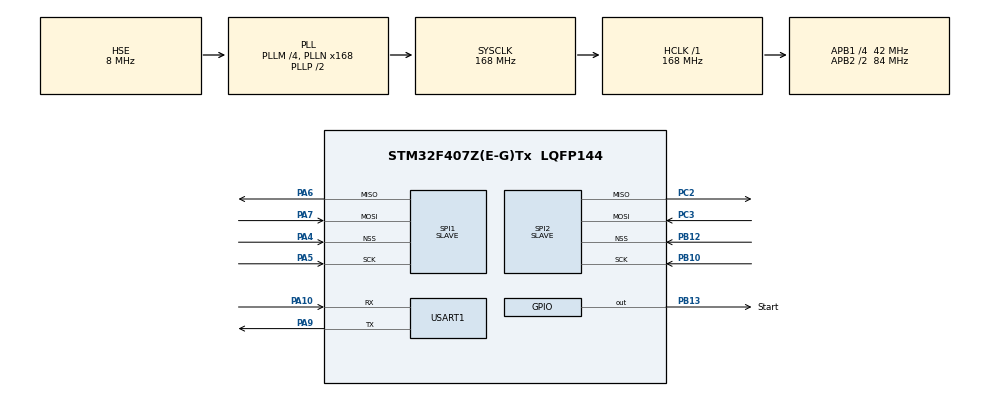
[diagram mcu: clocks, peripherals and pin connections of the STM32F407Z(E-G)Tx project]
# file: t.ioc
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Mcu.Family=STM32F4
Mcu.Name=STM32F407Z(E-G)Tx
Mcu.Package=LQFP144
NVIC.PriorityGroup=NVIC_PRIORITYGROUP_4
PA10.Mode=Asynchronous
PA10.Signal=USART1_RX
PA13.Mode=Serial_Wire
PA13.Signal=SYS_JTMS-SWDIO
PA14.Mode=Serial_Wire
PA14.Signal=SYS_JTCK-SWCLK
PA4.Mode=NSS_Signal_Hard_Input
PA4.Signal=SPI1_NSS
PA5.Mode=Full_Duplex_Slave
PA5.Signal=SPI1_SCK
PA6.Mode=Full_Duplex_Slave
PA6.Signal=SPI1_MISO
PA7.Mode=Full_Duplex_Slave
PA7.Signal=SPI1_MOSI
PA9.Mode=Asynchronous
PA9.Signal=USART1_TX
PB10.Mode=Full_Duplex_Slave
PB10.Signal=SPI2_SCK
PB12.Mode=NSS_Signal_Hard_Input
PB12.Signal=SPI2_NSS
PB13.GPIO_Label=Start
PB13.GPIO_PuPd=GPIO_PULLDOWN
PB13.GPIO_Speed=GPIO_SPEED_FREQ_VERY_HIGH
PB13.PinState=GPIO_PIN_SET
PB13.Signal=GPIO_Output
PC2.Mode=Full_Duplex_Slave
PC2.Signal=SPI2_MISO
PC3.Mode=Full_Duplex_Slave
PC3.Signal=SPI2_MOSI
PH0-OSC_IN.Mode=HSE-External-Oscillator
PH0-OSC_IN.Signal=RCC_OSC_IN
PH1-OSC_OUT.Mode=HSE-External-Oscillator
PH1-OSC_OUT.Signal=RCC_OSC_OUT
ProjectManager.HeapSize=0x200
ProjectManager.StackSize=0x400
ProjectManager.TargetToolchain=MDK-ARM V5.32
RCC.48MHZClocksFreq_Value=84000000
RCC.AHBFreq_Value=168000000
RCC.APB1CLKDivider=RCC_HCLK_DIV4
RCC.APB1Freq_Value=42000000
RCC.APB1TimFreq_Value=84000000
RCC.APB2CLKDivider=RCC_HCLK_DIV2
RCC.APB2Freq_Value=84000000
RCC.APB2TimFreq_Value=168000000
RCC.CortexFreq_Value=168000000
RCC.HCLKFreq_Value=168000000
RCC.HSE_VALUE=8000000
RCC.HSI_VALUE=16000000
RCC.LSE_VALUE=32768
RCC.PLLM=4
RCC.PLLN=168
RCC.PLLSourceVirtual=RCC_PLLSOURCE_HSE
RCC.SYSCLKFreq_VALUE=168000000
RCC.SYSCLKSource=RCC_SYSCLKSOURCE_PLLCLK
RCC.VCOOutputFreq_Value=336000000
SPI1.CLKPhase=SPI_PHASE_2EDGE
SPI1.CLKPolarity=SPI_POLARITY_HIGH
SPI1.DataSize=SPI_DATASIZE_16BIT
SPI1.Direction=SPI_DIRECTION_2LINES
SPI1.Mode=SPI_MODE_SLAVE
SPI1.VirtualNSS=VM_NSSHARD
SPI1.VirtualType=VM_SLAVE
SPI2.CLKPhase=SPI_PHASE_2EDGE
SPI2.CLKPolarity=SPI_POLARITY_HIGH
SPI2.DataSize=SPI_DATASIZE_16BIT
SPI2.Direction=SPI_DIRECTION_2LINES
SPI2.Mode=SPI_MODE_SLAVE
SPI2.VirtualNSS=VM_NSSHARD
SPI2.VirtualType=VM_SLAVE
USART1.VirtualMode=VM_ASYNC
board=custom

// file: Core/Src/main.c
/* USER CODE BEGIN Header */
/**
  ******************************************************************************
  * @file           : main.c
  * @brief          : Main program body
  ******************************************************************************
  * @attention
  *
  * <h2><center>&copy; Copyright (c) 2021 STMicroelectronics.
  * All rights reserved.</center></h2>
  *
  * This software component is licensed by ST under BSD 3-Clause license,
  * the "License"; You may not use this file except in compliance with the
  * License. You may obtain a copy of the License at:
  *                        opensource.org/licenses/BSD-3-Clause
  *
  ******************************************************************************
  */
/* USER CODE END Header */
#include "main.h"
#include "spi.h"
#include "usart.h"
#include "gpio.h"

/* USER CODE BEGIN Includes */
#include "stdio.h"
int fputc(int ch, FILE *f)
{
  HAL_UART_Transmit(&huart1, (uint8_t *)&ch, 1, 0xffff);
  return ch;
}

int fgetc(FILE *f)
{
  uint8_t ch = 0;
  HAL_UART_Receive(&huart1, &ch, 1, 0xffff);
  return ch;
}
/* USER CODE END Includes */

/* USER CODE BEGIN PTD */
int Data[256]={0};
uint16_t data2[256]={0};

/* USER CODE END PTD */

void SystemClock_Config(void);

/* USER CODE BEGIN 0 */
int i=0;
int flag=0;
uint8_t tbuff=3;
/* USER CODE END 0 */

int main(void)
{

  /* MCU Configuration--------------------------------------------------------*/

  /* Reset of all peripherals, Initializes the Flash interface and the Systick. */
  HAL_Init();

  /* Configure the system clock */
  SystemClock_Config();

  /* Initialize all configured peripherals */
  MX_GPIO_Init();
  MX_SPI2_Init();
  MX_USART1_UART_Init();
  MX_SPI1_Init();
  /* USER CODE BEGIN 2 */

HAL_Delay(1000);

	uint16_t data2[300]={0};

  /* USER CODE END 2 */

  /* Infinite loop */
  /* USER CODE BEGIN WHILE */
  while (1)
  {

				HAL_GPIO_WritePin(Start_GPIO_Port,Start_Pin,GPIO_PIN_RESET);
	HAL_Delay(100);
	HAL_GPIO_WritePin(Start_GPIO_Port,Start_Pin,GPIO_PIN_SET);
	HAL_SPI_Receive(&hspi1,(uint8_t *)data2,259,0xff);

	for(int i=2;i<258;i++)
		printf("%d\r\n",data2[i]);
		HAL_Delay(2000);

    /* USER CODE END WHILE */

  }
}

void SystemClock_Config(void)
{
  RCC_OscInitTypeDef RCC_OscInitStruct = {0};
  RCC_ClkInitTypeDef RCC_ClkInitStruct = {0};

  /** Configure the main internal regulator output voltage
  */
  __HAL_RCC_PWR_CLK_ENABLE();
  __HAL_PWR_VOLTAGESCALING_CONFIG(PWR_REGULATOR_VOLTAGE_SCALE1);
  /** Initializes the RCC Oscillators according to the specified parameters
  * in the RCC_OscInitTypeDef structure.
  */
  RCC_OscInitStruct.OscillatorType = RCC_OSCILLATORTYPE_HSE;
  RCC_OscInitStruct.HSEState = RCC_HSE_ON;
  RCC_OscInitStruct.PLL.PLLState = RCC_PLL_ON;
  RCC_OscInitStruct.PLL.PLLSource = RCC_PLLSOURCE_HSE;
  RCC_OscInitStruct.PLL.PLLM = 4;
  RCC_OscInitStruct.PLL.PLLN = 168;
  RCC_OscInitStruct.PLL.PLLP = RCC_PLLP_DIV2;
  RCC_OscInitStruct.PLL.PLLQ = 4;
  if (HAL_RCC_OscConfig(&RCC_OscInitStruct) != HAL_OK)
  {
    Error_Handler();
  }
  /** Initializes the CPU, AHB and APB buses clocks
  */
  RCC_ClkInitStruct.ClockType = RCC_CLOCKTYPE_HCLK|RCC_CLOCKTYPE_SYSCLK
                              |RCC_CLOCKTYPE_PCLK1|RCC_CLOCKTYPE_PCLK2;
  RCC_ClkInitStruct.SYSCLKSource = RCC_SYSCLKSOURCE_PLLCLK;
  RCC_ClkInitStruct.AHBCLKDivider = RCC_SYSCLK_DIV1;
  RCC_ClkInitStruct.APB1CLKDivider = RCC_HCLK_DIV4;
  RCC_ClkInitStruct.APB2CLKDivider = RCC_HCLK_DIV2;

  if (HAL_RCC_ClockConfig(&RCC_ClkInitStruct, FLASH_LATENCY_5) != HAL_OK)
  {
    Error_Handler();
  }
}

void Error_Handler(void)
{
  __disable_irq();
  while (1)
  {
  }
}

/************************ (C) COPYRIGHT STMicroelectronics *****END OF FILE****/
